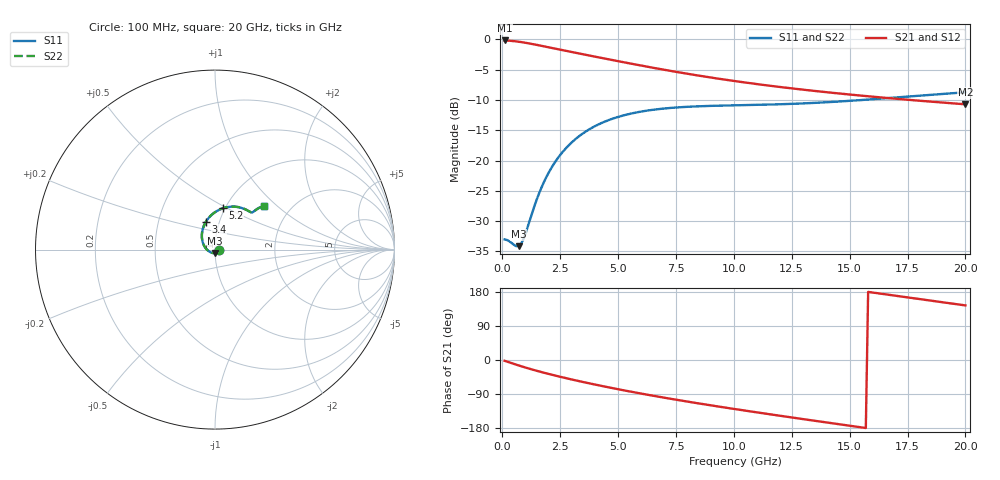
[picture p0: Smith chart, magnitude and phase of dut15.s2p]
! Touchstone file exported from HFSS 2023.1.0
!  File:  D:/Users/fzz/RDL_TSV/temp_RDL_TSV_15_1778743024.aedt
!  Generated:  3:26:54 %x4E0B%x5348  5%x6708 14, 2026
!  Design:  RDL_TSV
!  Project:  temp_RDL_TSV_15_1778743024
!  Setup:  Setup1
!  Solution:  Sweep
! Variables:
!  dtsv = 13.64um
!  hbump = 3um
!  htsv = 97.39um
!  ldown = 353.99um
!  lrdl = 381.13um
!  p = 40
!  p1 = 50.54um
!  rhole = 10um
!  subl = 2586.49um
!  t = 450um
!  tdown = 3.45um
!  trdl = 2.06um
!  viad = 10um
!  wdown = 20.38um
!  wrdl = 15.34um
!  xbump = 18um
# GHz S MA R 50.000000
! Terminal data exported
! Port[1] = TM1_1_T1
! Port[2] = TM1_4_T1
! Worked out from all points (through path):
!   200 points, 100 MHz to 20 GHz, reference 50 ohm
!   highest |S21| = -0.20 dB at 100 MHz (marker M1); lowest = -10.7 dB at 20 GHz (marker M2)
!   group delay of S21, straight-line fit = 28.1 ps
!   lowest |S11| = -34.1 dB at 700 MHz (marker M3), VSWR 1.04, Z = 50.1 - j1.97 ohm
!   |S11| at or under -10 dB: start of sweep to 15.61 GHz
!   |S22| runs from -34.1 to -8.7 dB; largest |S21 - S12| = 1.1e-14
!   S11 on the Smith chart (normalised r, x): 100 MHz: 1.05, -0.01; 3.4 GHz: 0.86, +0.27; 5.2 GHz: 0.98, +0.48; 20 GHz: 1.48, +0.82
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0.1  0.02236 -9.1  0.9769 -2.1  0.9769 -2.1  0.02236 -9.1
! Gamma 0 0 0 0
! Port Impedance 50 0 50 0
0.6  0.01967 -70.0  0.9597 -12.3  0.9597 -12.3  0.01966 -70.0
0.7  0.01966 -86.4  0.9542 -14.3  0.9542 -14.3  0.01965 -86.5
0.8  0.02044 -103.5  0.9482 -16.2  0.9482 -16.2  0.02043 -103.5
0.9  0.02216 -120.0  0.9418 -18.1  0.9418 -18.1  0.02216 -120.0
1.5  0.04839 175.9  0.8974 -28.7  0.8974 -28.7  0.04845 175.8
1.7  0.06032 163.8  0.8817 -32.0  0.8817 -32.0  0.06041 163.7
2  0.07922 149.4  0.8582 -36.8  0.8582 -36.8  0.07934 149.4
2.3  0.09841 137.9  0.8352 -41.4  0.8352 -41.4  0.09857 137.8
2.6  0.1172 128.2  0.8129 -45.8  0.8129 -45.8  0.1174 128.2
3.4  0.1631 108.1  0.7571 -56.9  0.7571 -56.9  0.1634 108.1
3.5  0.1682 106.0  0.7505 -58.2  0.7505 -58.2  0.1685 106.0
4.3  0.2043 91.6  0.7 -68.6  0.7 -68.6  0.2047 91.6
5.2  0.2345 79.1  0.6482 -79.5  0.6482 -79.5  0.235 79.1
6.8  0.266 63.5  0.5684 -97.4  0.5684 -97.4  0.2667 63.5
8.4  0.2795 53.9  0.504 -113.8  0.504 -113.8  0.2803 53.9
10.1  0.2853 48.2  0.4502 -130.0  0.4502 -130.0  0.2861 48.1
11.7  0.2898 45.6  0.4102 -144.6  0.4102 -144.6  0.2906 45.5
13.4  0.298 44.7  0.3761 -159.6  0.3761 -159.6  0.2988 44.6
15  0.3104 44.4  0.35 -173.5  0.35 -173.5  0.311 44.3
16.7  0.3276 43.9  0.3267 172.0  0.3267 172.0  0.3282 43.8
20  0.3649 41.6  0.2907 144.1  0.2907 144.1  0.3653 41.5
